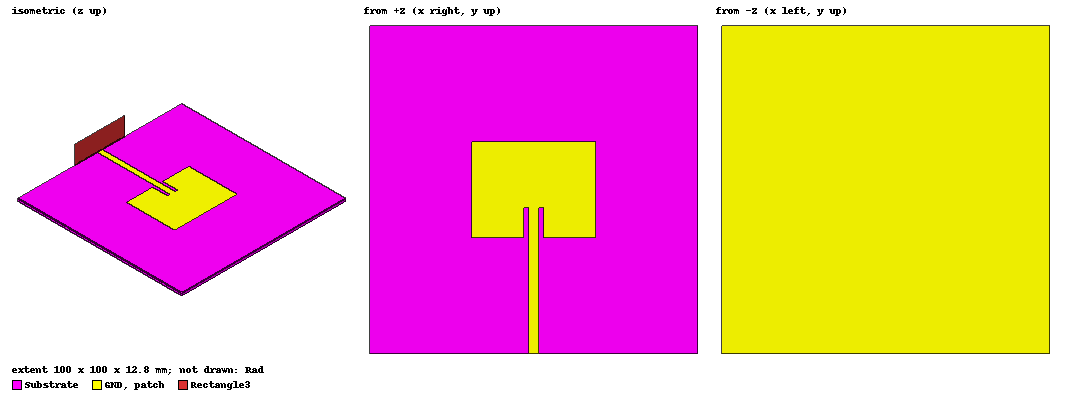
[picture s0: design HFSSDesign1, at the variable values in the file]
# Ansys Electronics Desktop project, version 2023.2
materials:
  vacuum: permittivity=1
  FR4_epoxy: permittivity=4.4 dielectric_loss_tangent=0.02
  air: permittivity=1.0006 permeability=1.0000004

design HFSSDesign1 (HFSS, HFSS Modal Network, model units mm)
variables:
  hs = 1.6mm
  w = 100mm
  l = 100mm
  l1 = 29.443143mm
  w1 = 38.036289mm
  t = 3.058975mm
  lambda = 125mm
  tc = 2*t
  lc = 9.25mm  # optimise 5mm..15mm
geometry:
  Substrate [FR4_epoxy] = box(corner=(-w/2, -l/2, 0mm), size=(w, l, hs))
  patch = rectangle(corner=(-w1/2, -l1/2, hs), x_size=w1, y_size=l1)
  feed = rectangle(corner=(-t/2, -l /2, 1.6mm), x_size=t, y_size=w/2)
  GND = rectangle(corner=(-w/2, -l/2, 0mm), x_size=w, y_size=l)
  Rad [air] = box(corner=(-w/2, -l/2, -10*hs), size=(w, l, 100*hs))
  Rectangle3 = rectangle(corner=(-5*t, -w/2, 0mm), z_size=8*hs, x_size=10*t)
  cut = rectangle(corner=(-tc/2, -l1/2, hs), x_size=tc, y_size=lc)
  patch.subtract(cut)
  patch.unite(feed)
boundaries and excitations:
  PerfE1: Perfect E Objects=patch
  PerfE2: Perfect E Objects=GND
  Rad1: Radiation Objects=Rad
  1: Wave Port Objects=Rectangle3 WavePortType=Modal NumModes=1 Modes{Mode1{IntLine{(0, -50, 0) -> (0, -50, 12.8)} CharImp=Zpi}}
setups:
  Setup1: HfssDriven Frequency=2.4GHz MaxDeltaS=0.02 MaximumPasses=6 MinimumPasses=1 MinimumConvergedPasses=1 PercentRefinement=30 BasisOrder=1 PortAccuracy=2 DrivenSolverType="Direct Solver"
    sweep Sweep: 1.2GHz to 3.6GHz, 401 points; Type=Fast SaveFields
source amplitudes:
  1:1: 1V 0deg
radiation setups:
  Infinite Sphere1: Infinite Sphere Theta=-180deg..180deg step 2deg Phi=0deg..90deg step 90deg
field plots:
  Mag_E1: E Field over patch.face(at (0, -17.6392, 1.6)) on Setup1 : Sweep at Freq=2.19GHz Phase=0deg
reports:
  S Parameter Plot 1: dB(S(1,1)) vs Freq on Setup1 : Sweep [lc=all]; markers m1 at 2.19GHz
  Gain Plot 1: dB(GainTotal) vs Theta on Setup1 : LastAdaptive, Infinite Sphere1 [Phi=all Freq=2.4GHz lc=all]
  S Parameter Plot 2: dB(S(1,1)) vs Freq on Setup1 : Sweep [lc=all]
  S Parameter Plot 3: dB(S(1,1)) vs Freq on Setup1 : Sweep [lc=9.25mm]
  Gain Plot 2: GainTotal vs Theta on Setup1 : Sweep, Infinite Sphere1 [Phi=all Freq=2.19GHz lc=9.25mm]
